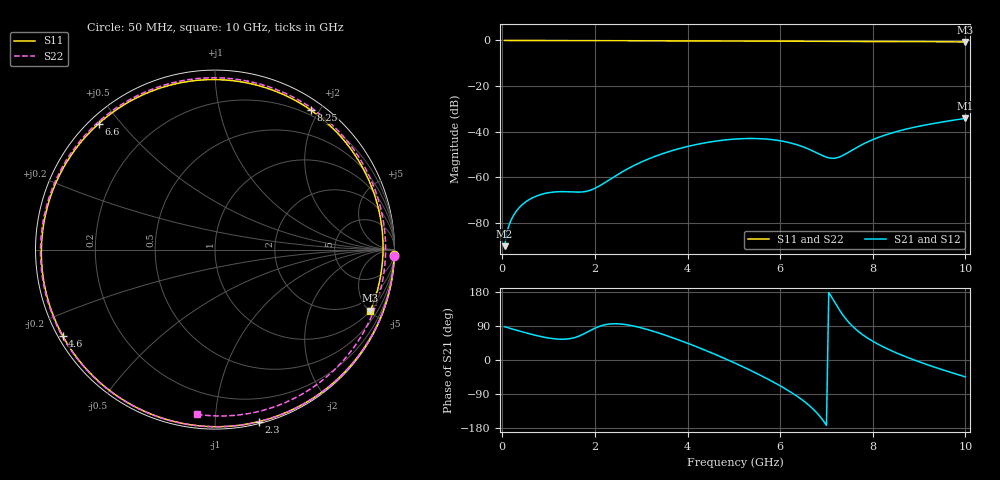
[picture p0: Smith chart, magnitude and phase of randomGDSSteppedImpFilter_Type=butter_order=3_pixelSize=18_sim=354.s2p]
! freq	dB(S11)	phase(S11)	dB(S12)	phase(S12)
!  dB(S21)	phase(S21)	dB(S22)	phase(S22)
!S-par simulation data
#  GHz  S  DB  R 50
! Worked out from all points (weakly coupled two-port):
!   200 points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, 50 MHz to 10 GHz, reference 50 ohm
!   highest |S21| = -34.18 dB at 10 GHz (marker M1); lowest = -90.2 dB at 50 MHz (marker M2)
!   lowest |S11| = -0.6 dB at 10 GHz (marker M3), VSWR 27.67, Z = 50.6 - j255 ohm
!   |S11| at or under -10 dB: nowhere
!   |S22| runs from -0.7 to 0.0 dB; largest |S21 - S12| = 0
!   S11 on the Smith chart (normalised r, x): 50 MHz: 1, -67; 2.3 GHz: 0.01, -1.29; 4.6 GHz: 0.01, -0.26; 6.6 GHz: 0.03, +0.44; 8.25 GHz: 0.13, +1.90; 10 GHz: 1.01, -5.10
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0.05  -0.00 -1.7  -90.24 87.8  -90.24 87.8  -0.01 -2.1
0.15  -0.01 -5.1  -80.81 84.2  -80.81 84.2  -0.01 -6.4
0.4  -0.02 -13.4  -72.63 75.4  -72.63 75.4  -0.02 -16.9
0.75  -0.03 -25.1  -68.16 64.2  -68.16 64.2  -0.04 -31.5
1.75  -0.07 -58.0  -66.39 68.2  -66.39 68.2  -0.09 -72.8
2.3  -0.10 -75.7  -61.27 94.8  -61.27 94.8  -0.12 -95.3
2.85  -0.12 -93.3  -54.80 89.3  -54.80 89.3  -0.15 -117.9
3.4  -0.15 -111.0  -50.10 70.4  -50.10 70.4  -0.18 -141.1
4.05  -0.18 -132.1  -46.27 41.9  -46.27 41.9  -0.23 -169.9
4.6  -0.22 -150.5  -44.18 14.6  -44.18 14.6  -0.27 163.8
5.05  -0.26 -166.2  -43.23 -9.6  -43.23 -9.6  -0.31 140.7
5.45  -0.29 179.2  -43.02 -32.8  -43.02 -32.8  -0.34 118.9
5.85  -0.33 163.9  -43.57 -58.0  -43.57 -58.0  -0.37 96.0
6.2  -0.36 149.8  -44.84 -82.6  -44.84 -82.6  -0.39 75.5
6.6  -0.40 132.8  -47.53 -117.2  -47.53 -117.2  -0.41 52.1
6.7  -0.41 128.4  -48.44 -128.1  -48.44 -128.1  -0.41 46.3
7.2  -0.45 105.7  -51.58 147.9  -51.58 147.9  -0.43 18.3
7.7  -0.48 82.0  -46.44 74.2  -46.44 74.2  -0.45 -7.6
8.25  -0.51 55.4  -41.61 33.3  -41.61 33.3  -0.48 -33.0
8.35  -0.51 50.6  -40.95 27.5  -40.95 27.5  -0.49 -37.3
9.15  -0.55 13.5  -37.03 -11.2  -37.03 -11.2  -0.57 -68.3
10  -0.63 -21.4  -34.18 -44.6  -34.18 -44.6  -0.70 -96.1
